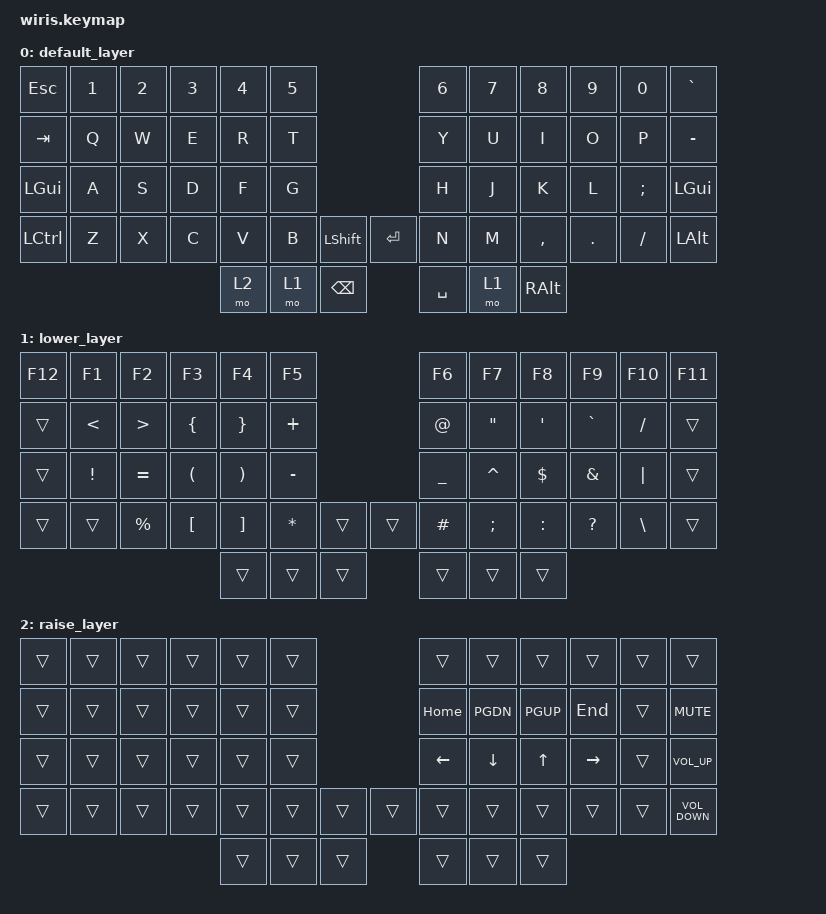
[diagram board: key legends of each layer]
/*
 * Copyright (c) 2020 The ZMK Contributors
 *
 * SPDX-License-Identifier: MIT
 */

#include <behaviors.dtsi>
#include <dt-bindings/zmk/keys.h>
#include <dt-bindings/zmk/bt.h>

/ {
	behaviors {
	};
	keymap {
		compatible = "zmk,keymap";

		default_layer {
// ------------------------------------------------------------------------------------------------------------
// |  ESC  |  1  |  2  |  3   |  4   |  5   |                   |  6   |  7    |  8    |  9   |   0   |   `   |
// |  TAB  |  Q  |  W  |  E   |  R   |  T   |                   |  Y   |  U    |  I    |  O   |   P   |   -   |
// |  CTRL |  A  |  S  |  D   |  F   |  G   |                   |  H   |  J    |  K    |  L   |   ;   |   '   |
// | SHIFT |  Z  |  X  |  C   |  V   |  B   |   "["  |  |  "]"  |  N   |  M    |  ,    |  .   |   /   | SHIFT |
//                     		  | GUI  | LOWER|  SPACE |  | ENTER | RAISE|  ALT  |
			bindings = <
&kp ESC   &kp N1 &kp N2 &kp N3 &kp N4   &kp N5                       &kp N6 &kp N7  &kp N8     &kp N9   &kp N0    &kp GRAVE
&kp TAB   &kp Q  &kp W  &kp E  &kp R    &kp T                        &kp Y  &kp U   &kp I      &kp O    &kp P     &kp MINUS
&kp LGUI  &kp A  &kp S  &kp D  &kp F    &kp G                        &kp H  &kp J   &kp K      &kp L    &kp SEMI  &kp LGUI
&kp LCTRL &kp Z  &kp X  &kp C  &kp V    &kp B   &kp LSHFT  &kp RET   &kp N  &kp M   &kp COMMA  &kp DOT  &kp FSLH  &kp LALT
                   			       &mo 2    &mo 1   &kp BKSP   &kp SPACE &mo 1  &kp RALT
			>;
		};

		lower_layer {
// ------------------------------------------------------------------------------------------------------------
// | BTCLR | BT1 | BT2 |  BT3 |  BT4 |  BT5 |                   |      |       |       |      |       |       |
// |  F1   |  F2 |  F3 |  F4  |  F5  |  F6  |                   |  F7  |  F8   |  F9   |  F10 |  F11  |  F12  |
// |   `   |  !  |  @  |  #   |  $   |  %   |                   |  ^   |  &    |  *    |  (   |   )   |   ~   |
// |       |     |     |      |      |      |        |  |       |      |  _    |  +    |  {   |   }   |  "|"  |
//                            |      |      |        |  |       |      |       |
			bindings = <
&kp F12    &kp F1       &kp F2       &kp F3       &kp F4       &kp F5                      &kp F6    &kp F7    &kp F8          &kp F9    &kp F10   &kp F11
&trans     &kp LT       &kp GT       &kp LBRC     &kp RBRC     &kp PLUS                    &kp AT    &kp DQT   &kp QUOT        &kp GRAVE &kp FSLH  &trans
&trans     &kp EXCL     &kp EQL      &kp LPAR     &kp RPAR     &kp MINUS                   &kp UNDER &kp CARET &kp DLLR        &kp AMPS  &kp PIPE  &trans
&trans     &trans       &kp PERCENT  &kp LBKT     &kp RBKT     &kp STAR  &trans   &trans   &kp HASH  &kp SEMI  &kp COLON       &kp QMARK &kp BSLH  &trans
                   					              &trans       &trans    &trans   &trans   &trans    &trans
			>;
		};

		raise_layer {
// ------------------------------------------------------------------------------------------------------------
// |       |     |     |      |      |      |                   |      |       |       |      |       |       |
// |   `   |  1  |  2  |  3   |  4   |  5   |                   |  6   |   7   |   8   |  9   |   0   |       |
// |   F1  |  F2 |  F3 |  F4  |  F5  |  F6  |                   |      |   <-  |   ^   |  v   |  ->   |       |
// |   F7  |  F8 |  F9 |  F10 |  F11 |  F12 |        |  |       |  +   |   -   |   =   |  [   |   ]   |   \   |
//                            |      |      |        |  |       |      |       |
			bindings = <
&trans    &trans &trans &trans  &trans  &trans                       &trans      &trans    &trans    &trans    &trans    &trans
&trans    &trans &trans &trans  &trans  &trans                       &kp HOME    &kp PGDN  &kp PGUP  &kp END   &trans    &kp C_MUTE
&trans    &trans &trans &trans  &trans  &trans                       &kp LEFT    &kp DOWN  &kp UP    &kp RIGHT &trans    &kp C_VOLUME_UP
&trans    &trans &trans &trans  &trans  &trans    &trans   &trans    &trans      &trans    &trans    &trans    &trans    &kp C_VOLUME_DOWN
                   				&trans  &trans    &trans   &trans    &trans      &trans
			>;
		};
	};
};
